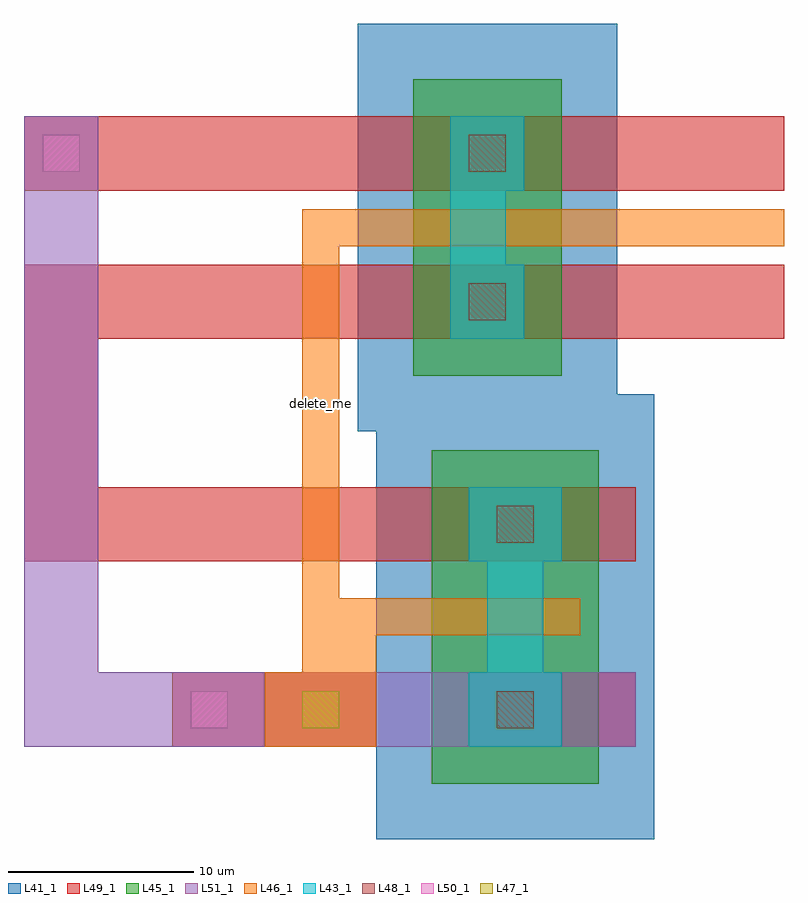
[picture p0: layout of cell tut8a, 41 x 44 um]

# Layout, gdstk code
import gdstk
lib = gdstk.Library(unit=1e-6, precision=1e-09)
def R(c, l, rs):  # rectangles x0, y0, x1, y1
    for r in rs: c.add(gdstk.rectangle(r[:2], r[2:], *l))
L41_1 = (41, 1)
L43_1 = (43, 1)
L45_1 = (45, 1)
L46_1 = (46, 1)
L47_1 = (47, 1)
L48_1 = (48, 1)
L49_1 = (49, 1)
L50_1 = (50, 1)
L51_1 = (51, 1)

tut8c = lib.new_cell('tut8c')
R(tut8c, L41_1, [(-3,-13,12,11)])
R(tut8c, L43_1, [(2,-8,7,-4), (3,-4,6,2), (2,2,7,6)])
R(tut8c, L45_1, [(0,-10,9,8)])
R(tut8c, L46_1, [(-9,-8,-3,-4), (-7,-4,-3,-2), (-7,-2,8,0)])
R(tut8c, L47_1, [(-7,-7,-5,-5)])
R(tut8c, L48_1, [(3.5,-7,5.5,-5), (3.5,3,5.5,5)])
R(tut8c, L49_1, [(-14,-8,-3,-4), (2,-8,11,-4), (-22,2,11,6)])
R(tut8c, L50_1, [(-13,-7,-11,-5)])
R(tut8c, L51_1, [(-22,-8,11,-4)])
tut8c.add(gdstk.Label('A', (-22,-6), layer=51, texttype=1))
tut8c.add(gdstk.Label('B', (-22,4), layer=49, texttype=1))
tut8c.add(gdstk.Label('C', (11,-6), layer=49, texttype=1))

tut8d = lib.new_cell('tut8d')
R(tut8d, L46_1, [(10,2,18,4)])
R(tut8d, L49_1, [(10,-3,18,1), (10,5,18,9)])

tut8b = lib.new_cell('tut8b')
R(tut8b, L41_1, [(-5,-5,9,17)])
R(tut8b, L43_1, [(0,0,4,4), (0,4,3,8), (0,8,4,12)])
R(tut8b, L45_1, [(-2,-2,6,14)])
R(tut8b, L46_1, [(-6,5,10,7)])
R(tut8b, L48_1, [(1,1,3,3), (1,9,3,11)])
R(tut8b, L49_1, [(-6,0,10,4), (-6,8,10,12)])
tut8b.add(gdstk.Reference(tut8d, (0,3)))
tut8b.add(gdstk.Label('Out', (-6,2), layer=49, texttype=1))
tut8b.add(gdstk.Label('In', (-6,10), layer=49, texttype=1))
tut8b.add(gdstk.Label('Gate', (-6,6), layer=46, texttype=1))

tut8a = lib.new_cell('tut8a')
R(tut8a, L46_1, [(-3,-14,-1,7)])
R(tut8a, L49_1, [(-18,-8,-14,0), (-18,0,-1,4), (-18,8,-1,12)])
R(tut8a, L50_1, [(-17,9,-15,11)])
R(tut8a, L51_1, [(-18,-18,-14,12)])
tut8a.add(gdstk.Reference(tut8c, (4,-14)))
tut8a.add(gdstk.Reference(tut8b, (5,0)))
tut8a.add(gdstk.Label('delete_me', (-2,-3.5), layer=46, texttype=1))

lib.write_gds('tut8a.gds')
